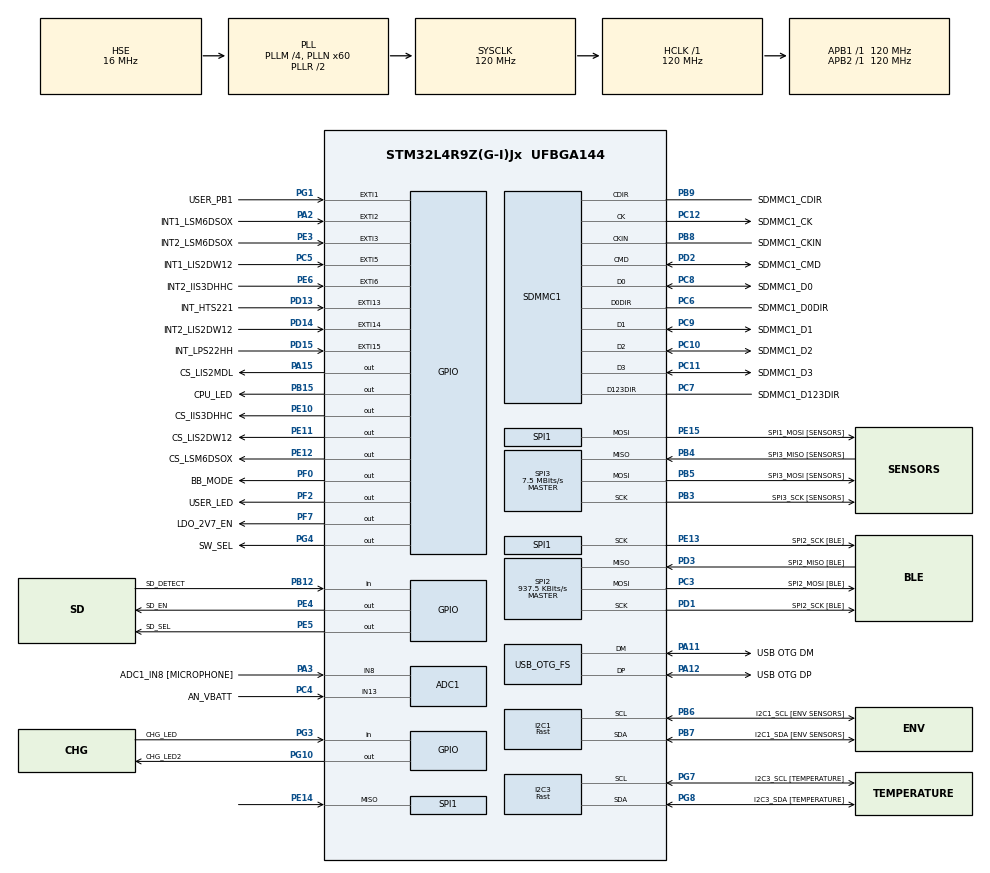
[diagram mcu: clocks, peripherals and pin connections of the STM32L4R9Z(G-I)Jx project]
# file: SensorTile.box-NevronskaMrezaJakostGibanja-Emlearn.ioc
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ADC1.Channel-0\#ChannelRegularConversion=ADC_CHANNEL_8
ADC1.ContinuousConvMode=ENABLE
ADC1.EnableInjectedConversion=ENABLE
ADC1.NbrOfConversion=1
ADC1.NbrOfConversionFlag=1
ADC1.OffsetNumber-0\#ChannelRegularConversion=ADC_OFFSET_NONE
ADC1.Overrun=ADC_OVR_DATA_OVERWRITTEN
ADC1.OversamplingMode=DISABLE
ADC1.Rank-0\#ChannelRegularConversion=1
ADC1.SamplingTime-0\#ChannelRegularConversion=ADC_SAMPLETIME_12CYCLES_5
ADC1.master=1
DFSDM1.DmaMode_reg_FIL0=ENABLE
DFSDM1.FastMode_reg_FIL0=ENABLE
DFSDM1.Filter_injChannel0_FIL0=__NULL
DFSDM1.Filter_regChannel_FIL0=DFSDM_CHANNEL_0
DFSDM1.Fosr_FIL0=192
DFSDM1.Multiplexer_internal_CH0=DFSDM_CHANNEL_ADC_OUTPUT
DFSDM1.RightBitShift_CH0=7
DFSDM1.SincOrder_FIL0=DFSDM_FILTER_SINC2_ORDER
Dma.DFSDM1_FLT0.0.Direction=DMA_PERIPH_TO_MEMORY
Dma.DFSDM1_FLT0.0.EventEnable=DISABLE
Dma.DFSDM1_FLT0.0.Instance=DMA1_Channel4
Dma.DFSDM1_FLT0.0.MemDataAlignment=DMA_MDATAALIGN_WORD
Dma.DFSDM1_FLT0.0.MemInc=DMA_MINC_ENABLE
Dma.DFSDM1_FLT0.0.Mode=DMA_CIRCULAR
Dma.DFSDM1_FLT0.0.PeriphDataAlignment=DMA_PDATAALIGN_WORD
Dma.DFSDM1_FLT0.0.PeriphInc=DMA_PINC_DISABLE
Dma.DFSDM1_FLT0.0.Polarity=HAL_DMAMUX_REQUEST_GEN_RISING
Dma.DFSDM1_FLT0.0.Priority=DMA_PRIORITY_HIGH
Dma.DFSDM1_FLT0.0.RequestNumber=1
Dma.DFSDM1_FLT0.0.SignalID=NONE
Dma.DFSDM1_FLT0.0.SyncEnable=DISABLE
Dma.DFSDM1_FLT0.0.SyncPolarity=HAL_DMAMUX_SYNC_NO_EVENT
Dma.DFSDM1_FLT0.0.SyncRequestNumber=1
Dma.DFSDM1_FLT0.0.SyncSignalID=NONE
Dma.Request0=DFSDM1_FLT0
FATFS.BSP.number=1
FATFS.USE_DMA_CODE_SD=1
FATFS._FS_NORTC=0
FATFS._USE_LFN=3
FATFS0.BSP.STBoard=false
FATFS0.BSP.api=Unknown
FATFS0.BSP.instance=PB12
FATFS0.BSP.ip=GPIO
FATFS0.BSP.mode=Input
FATFS0.BSP.name=Detect_SDIO
FATFS0.BSP.solution=PB12
I2C1.I2C_Speed_Mode=I2C_Fast
I2C1.Timing=0x00B03FDB
I2C3.I2C_Speed_Mode=I2C_Fast
I2C3.Timing=0x00B03FDB
Mcu.Family=STM32L4
Mcu.Name=STM32L4R9Z(G-I)Jx
Mcu.Package=UFBGA144
NVIC.DMA1_Channel4_IRQn=true\:0\:0\:false\:false\:true\:false\:true\:true
NVIC.OTG_FS_IRQn=true\:0\:0\:false\:false\:true\:false\:true\:true
NVIC.PriorityGroup=NVIC_PRIORITYGROUP_4
NVIC.SDMMC1_IRQn=true\:0\:0\:false\:false\:true\:true\:true\:true
NVIC.TIM6_DAC_IRQn=true\:0\:0\:false\:false\:true\:true\:true\:true
PA11.GPIO_Label=USB OTG DM
PA11.Mode=Device_Only
PA11.Signal=USB_OTG_FS_DM
PA12.GPIO_Label=USB OTG DP
PA12.Mode=Device_Only
PA12.Signal=USB_OTG_FS_DP
PA15\ (JTDI).GPIO_Label=CS_LIS2MDL
PA15\ (JTDI).GPIO_ModeDefaultOutputPP=GPIO_MODE_OUTPUT_OD
PA15\ (JTDI).GPIO_Speed=GPIO_SPEED_FREQ_VERY_HIGH
PA15\ (JTDI).PinState=GPIO_PIN_SET
PA15\ (JTDI).Signal=GPIO_Output
PA2.GPIO_Label=INT1_LSM6DSOX
PA2.Signal=GPXTI2
PA3.GPIO_Label=ADC1_IN8 [MICROPHONE]
PA3.Signal=ADCx_IN8
PB12.GPIO_Label=SD_DETECT
PB12.Signal=GPIO_Input
PB15.GPIO_Label=CPU_LED
PB15.Signal=GPIO_Output
PB3\ (JTDO/TRACESWO).GPIO_Label=SPI3_SCK [SENSORS]
PB3\ (JTDO/TRACESWO).GPIO_PuPd=GPIO_PULLUP
PB3\ (JTDO/TRACESWO).Mode=Full_Duplex_Master
PB3\ (JTDO/TRACESWO).Signal=SPI3_SCK
PB4\ (NJTRST).GPIO_Label=SPI3_MISO [SENSORS]
PB4\ (NJTRST).Mode=Full_Duplex_Master
PB4\ (NJTRST).Signal=SPI3_MISO
PB5.GPIO_Label=SPI3_MOSI [SENSORS]
PB5.Mode=Full_Duplex_Master
PB5.Signal=SPI3_MOSI
PB6.GPIO_Label=I2C1_SCL [ENV SENSORS]
PB6.GPIO_Pu=GPIO_PULLUP
PB6.Mode=I2C
PB6.Signal=I2C1_SCL
PB7.GPIO_Label=I2C1_SDA [ENV SENSORS]
PB7.GPIO_Pu=GPIO_PULLUP
PB7.Mode=I2C
PB7.Signal=I2C1_SDA
PB8.GPIO_Label=SDMMC1_CKIN
PB8.Mode=SD_4_bits_Wide_bus_dir_voltage_converter
PB8.Signal=SDMMC1_CKIN
PB9.GPIO_Label=SDMMC1_CDIR
PB9.Mode=SD_4_bits_Wide_bus_dir_voltage_converter
PB9.Signal=SDMMC1_CDIR
PC10.GPIO_Label=SDMMC1_D2
PC10.Mode=SD_4_bits_Wide_bus_dir_voltage_converter
PC10.Signal=SDMMC1_D2
PC11.GPIO_Label=SDMMC1_D3
PC11.Mode=SD_4_bits_Wide_bus_dir_voltage_converter
PC11.Signal=SDMMC1_D3
PC12.GPIO_Label=SDMMC1_CK
PC12.Mode=SD_4_bits_Wide_bus_dir_voltage_converter
PC12.Signal=SDMMC1_CK
PC14-OSC32_IN\ (PC14).GPIO_Label=RCC_OSC32_IN
PC14-OSC32_IN\ (PC14).Mode=LSE-External-Oscillator
PC14-OSC32_IN\ (PC14).Signal=RCC_OSC32_IN
PC15-OSC32_OUT\ (PC15).GPIO_Label=RCC-OSC32_OUT
PC15-OSC32_OUT\ (PC15).Mode=LSE-External-Oscillator
PC15-OSC32_OUT\ (PC15).Signal=RCC_OSC32_OUT
PC3.GPIO_Label=SPI2_MOSI [BLE]
PC3.Mode=Full_Duplex_Master
PC3.Signal=SPI2_MOSI
PC4.GPIO_Label=AN_VBATT
PC4.Signal=ADCx_IN13
PC5.GPIO_Label=INT1_LIS2DW12
PC5.Signal=GPXTI5
PC6.GPIO_Label=SDMMC1_D0DIR
PC6.Mode=SD_4_bits_Wide_bus_dir_voltage_converter
PC6.Signal=SDMMC1_D0DIR
PC7.GPIO_Label=SDMMC1_D123DIR
PC7.Mode=SD_4_bits_Wide_bus_dir_voltage_converter
PC7.Signal=SDMMC1_D123DIR
PC8.GPIO_Label=SDMMC1_D0
PC8.Mode=SD_4_bits_Wide_bus_dir_voltage_converter
PC8.Signal=SDMMC1_D0
PC9.GPIO_Label=SDMMC1_D1
PC9.Mode=SD_4_bits_Wide_bus_dir_voltage_converter
PC9.Signal=SDMMC1_D1
PD1.GPIO_Label=SPI2_SCK [BLE]
PD1.Mode=Full_Duplex_Master
PD1.Signal=SPI2_SCK
PD13.GPIO_Label=INT_HTS221
PD13.Signal=GPXTI13
PD14.GPIO_Label=INT2_LIS2DW12
PD14.Signal=GPXTI14
PD15.GPIO_Label=INT_LPS22HH
PD15.Signal=GPXTI15
PD2.GPIO_Label=SDMMC1_CMD
PD2.Mode=SD_4_bits_Wide_bus_dir_voltage_converter
PD2.Signal=SDMMC1_CMD
PD3.GPIO_Label=SPI2_MISO [BLE]
PD3.Mode=Full_Duplex_Master
PD3.Signal=SPI2_MISO
PD5.GPIO_Label=USART2_TX [SERIAL PORT]
PD5.Signal=USART2_TX
PD6.GPIO_Label=USART2_RX [SERIAL PORT]
PD6.Signal=USART2_RX
PE10.GPIO_Label=CS_IIS3DHHC
PE10.GPIO_ModeDefaultOutputPP=GPIO_MODE_OUTPUT_OD
PE10.GPIO_Speed=GPIO_SPEED_FREQ_VERY_HIGH
PE10.PinState=GPIO_PIN_SET
PE10.Signal=GPIO_Output
PE11.GPIO_Label=CS_LIS2DW12
PE11.GPIO_ModeDefaultOutputPP=GPIO_MODE_OUTPUT_OD
PE11.GPIO_Speed=GPIO_SPEED_FREQ_VERY_HIGH
PE11.PinState=GPIO_PIN_SET
PE11.Signal=GPIO_Output
PE12.GPIO_Label=CS_LSM6DSOX
PE12.GPIO_ModeDefaultOutputPP=GPIO_MODE_OUTPUT_OD
PE12.GPIO_Speed=GPIO_SPEED_FREQ_VERY_HIGH
PE12.PinState=GPIO_PIN_SET
PE12.Signal=GPIO_Output
PE13.GPIO_Label=SPI2_SCK [BLE]
PE13.GPIO_PuPd=GPIO_PULLUP
PE13.Mode=Full_Duplex_Master
PE13.Signal=SPI1_SCK
PE14.Mode=Full_Duplex_Master
PE14.Signal=SPI1_MISO
PE15.GPIO_Label=SPI1_MOSI [SENSORS]
PE15.Mode=Full_Duplex_Master
PE15.Signal=SPI1_MOSI
PE3.GPIO_Label=INT2_LSM6DSOX
PE3.Signal=GPXTI3
PE4.GPIO_Label=SD_EN
PE4.PinState=GPIO_PIN_SET
PE4.Signal=GPIO_Output
PE5.GPIO_Label=SD_SEL
PE5.PinState=GPIO_PIN_SET
PE5.Signal=GPIO_Output
PE6.GPIO_Label=INT2_IIS3DHHC
PE6.Signal=GPXTI6
PF0.GPIO_Label=BB_MODE
PF0.PinState=GPIO_PIN_RESET
PF0.Signal=GPIO_Output
PF2.GPIO_Label=USER_LED
PF2.GPIO_ModeDefaultOutputPP=GPIO_MODE_OUTPUT_PP
PF2.Signal=GPIO_Output
PF7.GPIO_Label=LDO_2V7_EN
PF7.PinState=GPIO_PIN_SET
PF7.Signal=GPIO_Output
PG1.GPIO_Label=USER_PB1
PG1.GPIO_ModeDefaultEXTI=GPIO_MODE_IT_FALLING
PG1.Signal=GPXTI1
PG10.GPIO_Label=CHG_LED2
PG10.PinState=GPIO_PIN_SET
PG10.Signal=GPIO_Output
PG3.GPIO_Label=CHG_LED
PG3.Signal=GPIO_Input
PG4.GPIO_Label=SW_SEL
PG4.Signal=GPIO_Output
PG7.GPIO_Label=I2C3_SCL [TEMPERATURE]
PG7.GPIO_Pu=GPIO_PULLUP
PG7.Mode=I2C
PG7.Signal=I2C3_SCL
PG8.GPIO_Label=I2C3_SDA [TEMPERATURE]
PG8.GPIO_Pu=GPIO_PULLUP
PG8.Mode=I2C
PG8.Signal=I2C3_SDA
PH0-OSC_IN\ (PH0).GPIO_Label=RCC_OSC_IN
PH0-OSC_IN\ (PH0).Mode=HSE-External-Oscillator
PH0-OSC_IN\ (PH0).Signal=RCC_OSC_IN
PH1-OSC_OUT\ (PH1).GPIO_Label=RCC_OSC_OUT
PH1-OSC_OUT\ (PH1).Mode=HSE-External-Oscillator
PH1-OSC_OUT\ (PH1).Signal=RCC_OSC_OUT
ProjectManager.HeapSize=0x200
ProjectManager.StackSize=0x400
ProjectManager.TargetToolchain=STM32CubeIDE
RCC.ADCFreq_Value=76800000
RCC.AHBFreq_Value=120000000
RCC.APB1Freq_Value=120000000
RCC.APB1TimFreq_Value=120000000
RCC.APB2Freq_Value=120000000
RCC.APB2TimFreq_Value=120000000
RCC.CK48CLockSelection=RCC_USBCLKSOURCE_HSI48
RCC.CortexFreq_Value=120000000
RCC.HCLKFreq_Value=120000000
RCC.HSE_VALUE=16000000
RCC.HSI48_VALUE=48000000
RCC.HSI_VALUE=16000000
RCC.MSI_VALUE=4000000
RCC.PLLM1=4
RCC.PLLM2=5
RCC.PLLN=60
RCC.PLLP=RCC_PLLP_DIV5
RCC.PLLSAI1N=96
RCC.PLLSAI1Q=RCC_PLLQ_DIV4
RCC.PLLSAI1R=RCC_PLLR_DIV4
RCC.PLLSourceVirtual=RCC_PLLSOURCE_HSE
RCC.RTCClockSelection=RCC_RTCCLKSOURCE_LSE
RCC.SYSCLKFreq_VALUE=120000000
RCC.SYSCLKSource=RCC_SYSCLKSOURCE_PLLCLK
RCC.USBFreq_Value=48000000
RCC.VCOOutputFreq_Value=240000000
RTC.Date=3
RTC.Format=RTC_FORMAT_BIN
RTC.Month=RTC_MONTH_APRIL
RTC.WeekDay=RTC_WEEKDAY_TUESDAY
RTC.Year=20
SH.ADCx_IN13.0=ADC1_IN13,IN13-Single-Ended
SH.ADCx_IN8.0=ADC1_IN8,IN8-Single-Ended
SPI1.BaudRatePrescaler=SPI_BAUDRATEPRESCALER_16
SPI1.CLKPhase=SPI_PHASE_2EDGE
SPI1.CLKPolarity=SPI_POLARITY_HIGH
SPI1.CalculateBaudRate=7.5 MBits/s
SPI1.DataSize=SPI_DATASIZE_8BIT
SPI1.Direction=SPI_DIRECTION_2LINES
SPI1.Mode=SPI_MODE_MASTER
SPI1.VirtualType=VM_MASTER
SPI2.BaudRatePrescaler=SPI_BAUDRATEPRESCALER_128
SPI2.CLKPhase=SPI_PHASE_2EDGE
SPI2.CalculateBaudRate=937.5 KBits/s
SPI2.DataSize=SPI_DATASIZE_8BIT
SPI2.Direction=SPI_DIRECTION_2LINES
SPI2.Mode=SPI_MODE_MASTER
SPI2.VirtualType=VM_MASTER
SPI3.BaudRatePrescaler=SPI_BAUDRATEPRESCALER_16
SPI3.CLKPhase=SPI_PHASE_2EDGE
SPI3.CLKPolarity=SPI_POLARITY_HIGH
SPI3.CalculateBaudRate=7.5 MBits/s
SPI3.DataSize=SPI_DATASIZE_8BIT
SPI3.Direction=SPI_DIRECTION_2LINES
SPI3.Mode=SPI_MODE_MASTER
SPI3.VirtualType=VM_MASTER
TIM2.Period=0xFFFFFFFF
TIM2.Prescaler=119
TIM6.Period=1000
TIM6.Prescaler=119
TIM7.Period=0xFFFF
TIM7.Prescaler=119
USB_DEVICE.CLASS_NAME_FS=CDC
USB_DEVICE.VirtualMode=Cdc
USB_DEVICE.VirtualModeFS=Cdc_FS
USB_OTG_FS.VirtualMode=Device_Only
USB_OTG_FS.battery_charging_enable=ENABLE
USB_OTG_FS.use_dedicated_ep1=DISABLE
VP_DFSDM1_VS_IN0.Mode=Parallel_Input_ch0
VP_FATFS_VS_SDIO.Mode=SDIO
VP_RTC_VS_RTC_Activate.Mode=RTC_Enabled
VP_RTC_VS_RTC_Calendar.Mode=RTC_Calendar
VP_TIM2_VS_ClockSourceINT.Mode=Internal
VP_TIM6_VS_ClockSourceINT.Mode=Enable_Timer
VP_TIM7_VS_ClockSourceINT.Mode=Enable_Timer
VP_USB_DEVICE_VS_USB_DEVICE_CDC_FS.Mode=CDC_FS
board=STEVAL-MKSBOX1V1

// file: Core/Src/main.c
/* USER CODE BEGIN Header */
/**
  ******************************************************************************
  * @file           : main.c
  * @brief          : Main program body
  ******************************************************************************
  * @attention
  *
  * Copyright (c) 2023 STMicroelectronics.
  * All rights reserved.
  *
  * This software is licensed under terms that can be found in the LICENSE file
  * in the root directory of this software component.
  * If no LICENSE file comes with this software, it is provided AS-IS.
  *
  ******************************************************************************
  */
/* USER CODE END Header */
#include "main.h"
#include "fatfs.h"
#include "usb_device.h"

/* USER CODE BEGIN Includes */

#include "nevronskaMreza_jakostGibanja.h"

#define BUFSIZE 256
char	SendBuffer[BUFSIZE];

float bufVar[26];
int bufVar_len = 0;

#define LSM6DSOX_ACC_SENSITIVITY_FS_4G   0.122f

	  uint8_t indata[2];
	  uint8_t outdata[2] = {0,0};
	  uint8_t lis_id;
	  uint8_t newValueAvailable = 0;
	  uint8_t AccelX1;
	  uint8_t AccelY1;
	  uint8_t AccelZ1;
	  uint8_t AccelX2;
	  uint8_t AccelY2;
	  uint8_t AccelZ2;
	  int32_t AccelX;
	  int32_t AccelY;
	  int32_t AccelZ;

	  const char* classes[3] = {"mirovanje", "srednja jakost", "velika jakost"};

/* USER CODE END Includes */

ADC_HandleTypeDef hadc1;

DFSDM_Filter_HandleTypeDef hdfsdm1_filter0;
DFSDM_Channel_HandleTypeDef hdfsdm1_channel0;
DMA_HandleTypeDef hdma_dfsdm1_flt0;

I2C_HandleTypeDef hi2c1;
I2C_HandleTypeDef hi2c3;

RTC_HandleTypeDef hrtc;

SD_HandleTypeDef hsd1;

SPI_HandleTypeDef hspi1;
SPI_HandleTypeDef hspi2;
SPI_HandleTypeDef hspi3;

TIM_HandleTypeDef htim2;
TIM_HandleTypeDef htim6;
TIM_HandleTypeDef htim7;

void SystemClock_Config(void);
static void MX_GPIO_Init(void);
static void MX_DMA_Init(void);
static void MX_ADC1_Init(void);
static void MX_DFSDM1_Init(void);
static void MX_I2C1_Init(void);
static void MX_I2C3_Init(void);
static void MX_RTC_Init(void);
static void MX_SDMMC1_SD_Init(void);
static void MX_SPI1_Init(void);
static void MX_SPI2_Init(void);
static void MX_SPI3_Init(void);
static void MX_TIM2_Init(void);
static void MX_TIM6_Init(void);
static void MX_TIM7_Init(void);

int main(void)
{

  /* MCU Configuration--------------------------------------------------------*/

  /* Reset of all peripherals, Initializes the Flash interface and the Systick. */
  HAL_Init();

  /* Configure the system clock */
  SystemClock_Config();

  /* Initialize all configured peripherals */
  MX_GPIO_Init();
  MX_DMA_Init();
  MX_ADC1_Init();
  MX_DFSDM1_Init();
  MX_I2C1_Init();
  MX_I2C3_Init();
  MX_RTC_Init();
  MX_SDMMC1_SD_Init();
  MX_SPI1_Init();
  MX_SPI2_Init();
  MX_SPI3_Init();
  MX_TIM2_Init();
  MX_TIM6_Init();
  MX_TIM7_Init();
  MX_FATFS_Init();
  MX_USB_DEVICE_Init();

  /* Infinite loop */
  /* USER CODE BEGIN WHILE */

  	    // sensor setup (activation and setting frequency)
  	    HAL_GPIO_WritePin(GPIOE, GPIO_PIN_12, GPIO_PIN_RESET);

  	    outdata[0] = 0x10 ; // register used for setting up the accelerometer
  	    outdata[1] = 0x28 ; // set frequency to 26Hz and FS to 4g
  	    HAL_SPI_TransmitReceive(&hspi1, &outdata, &indata, 2, HAL_MAX_DELAY);

  	    HAL_GPIO_WritePin(GPIOE, GPIO_PIN_12, GPIO_PIN_SET);

  while (1)
  {

	  while(bufVar_len < 26) {
	  		HAL_GPIO_WritePin(GPIOE, GPIO_PIN_12, GPIO_PIN_RESET);
	  		outdata[0] = 0x1e | 0x80 ; // read status register if there is new accelerometer data
	  		HAL_SPI_TransmitReceive(&hspi1, &outdata, &indata, 2, HAL_MAX_DELAY);
	  		newValueAvailable = indata[1] & 0b1; //only accelerometer state
	  		HAL_GPIO_WritePin(GPIOE, GPIO_PIN_12, GPIO_PIN_SET);

	  		if(newValueAvailable == 1) {
	  			bufVar_len++;

	  			newValueAvailable = 0;

	  			//Read accelerometer measurements
	  			outdata[0] = 0x29 | 0x80 ; // read x, 0x51
	  			HAL_GPIO_WritePin(GPIOE, GPIO_PIN_12, GPIO_PIN_RESET);
	  			HAL_SPI_TransmitReceive(&hspi1, &outdata, &indata, 2, HAL_MAX_DELAY);
	  			AccelX1 = indata[1];
	  			outdata[0] = 0x28 | 0x80 ; // read x, low
	  			HAL_SPI_TransmitReceive(&hspi1, &outdata, &indata, 2, HAL_MAX_DELAY);
	  			AccelX2 = indata[1];
	  			HAL_GPIO_WritePin(GPIOE, GPIO_PIN_12, GPIO_PIN_SET);

	  			HAL_GPIO_WritePin(GPIOE, GPIO_PIN_12, GPIO_PIN_RESET);
	  			outdata[0] = 0x2b | 0x80 ; // read y, 0x53
	  			HAL_SPI_TransmitReceive(&hspi1, &outdata, &indata, 2, HAL_MAX_DELAY);
	  			AccelY1 = indata[1];
	  			outdata[0] = 0x2a | 0x80 ; // read y, low
	  			HAL_SPI_TransmitReceive(&hspi1, &outdata, &indata, 2, HAL_MAX_DELAY);
	  			AccelY2 = indata[1];
	  			HAL_GPIO_WritePin(GPIOE, GPIO_PIN_12, GPIO_PIN_SET);

	  			HAL_GPIO_WritePin(GPIOE, GPIO_PIN_12, GPIO_PIN_RESET);
	  			outdata[0] = 0x2d | 0x80 ; // read z, 0x55
	  			HAL_SPI_TransmitReceive(&hspi1, &outdata, &indata, 2, HAL_MAX_DELAY);
	  			AccelZ1 = indata[1];
	  			HAL_GPIO_WritePin(GPIOE, GPIO_PIN_12, GPIO_PIN_SET);

	  			HAL_GPIO_WritePin(GPIOE, GPIO_PIN_12, GPIO_PIN_RESET);
	  			outdata[0] = 0x2c | 0x80 ; // read z, low
	  			HAL_SPI_TransmitReceive(&hspi1, &outdata, &indata, 2, HAL_MAX_DELAY);
	  			AccelZ2 = indata[1];
	  			HAL_GPIO_WritePin(GPIOE, GPIO_PIN_12, GPIO_PIN_SET);

	  			//Calculation to get measurements in the unit mG and with /1000 to G
	  			int16_t AccelX;
	  			int32_t AccelX_mg;
	  			int16_t AccelY;
	  			int32_t AccelY_mg;
	  			int16_t AccelZ;
	  			int32_t AccelZ_mg;

	  			AccelX= ((int16_t)AccelX1 <<8 ) | AccelX2;
	  			AccelX_mg= (int32_t)((float)AccelX * LSM6DSOX_ACC_SENSITIVITY_FS_4G);
	  			AccelY= ((int16_t)AccelY1 <<8 ) | AccelY2;
	  			AccelY_mg= (int32_t)((float)AccelY * LSM6DSOX_ACC_SENSITIVITY_FS_4G);
	  			AccelZ= ((int16_t)AccelZ1 <<8 ) | AccelZ2;
	  			AccelZ_mg= (int32_t)((float)AccelZ * LSM6DSOX_ACC_SENSITIVITY_FS_4G);

	  			float AccelX_inG = AccelX_mg * 0.001f;
	  			float AccelY_inG = AccelY_mg * 0.001f;
	  			float AccelZ_inG = AccelZ_mg * 0.001f;

	  			bufVar[bufVar_len - 1] = sqrt(AccelX_inG * AccelX_inG + AccelY_inG * AccelY_inG + AccelZ_inG * AccelZ_inG);
	  		}
	  	}

	  	if(bufVar_len == 26) {
	  		bufVar_len = 0;
	  		float summ = 0;
	  		float sumOfSquares = 0;
	  		for(int i = 0; i < 26; i++) {
	  			summ += bufVar[i];
	  			sumOfSquares += bufVar[i] * bufVar[i];
	  		}
	  		float mean = summ / 26;
	  		float meanSquared = mean * mean;

	  		float inputValue = (sumOfSquares / 26) - meanSquared;

	  		inputValue = (inputValue - 0.22330145150297734) * 2.5709241370783027;

	  		const float features[] = { inputValue };
	  		int out = nevronskaMreza_jakostGibanja_predict(features, 1); // Alternative A: "inline"
	  		if (out < 0) {
	  		    return out; // error
	  		} else {
	  		  snprintf(SendBuffer,BUFSIZE,"Razred: %lu, %s \r\n", out, classes[out]);
	  		  CDC_Transmit_FS(SendBuffer,strlen(SendBuffer));

	  		  HAL_GPIO_WritePin(GPIOF, GPIO_PIN_2, GPIO_PIN_RESET);
	  		  HAL_GPIO_WritePin(GPIOG, GPIO_PIN_10, GPIO_PIN_SET);
	  		  HAL_GPIO_WritePin(GPIOB, GPIO_PIN_15, GPIO_PIN_RESET);

	  		  switch(out)
	  		      {
	  		          case 0:
	  		          	HAL_GPIO_WritePin(GPIOF, GPIO_PIN_2, GPIO_PIN_SET);
	  		              break;
	  		          case 1:
	  		          	HAL_GPIO_WritePin(GPIOG, GPIO_PIN_10, GPIO_PIN_RESET);
	  		          	break;
	  		          case 2:
	  		          	HAL_GPIO_WritePin(GPIOB, GPIO_PIN_15, GPIO_PIN_SET);
	  		          	break;
	  		      }
	  			}
	  	}

    /* USER CODE END WHILE */

  }
}

void SystemClock_Config(void)
{
  RCC_OscInitTypeDef RCC_OscInitStruct = {0};
  RCC_ClkInitTypeDef RCC_ClkInitStruct = {0};

  /** Configure the main internal regulator output voltage
  */
  if (HAL_PWREx_ControlVoltageScaling(PWR_REGULATOR_VOLTAGE_SCALE1_BOOST) != HAL_OK)
  {
    Error_Handler();
  }

  /** Configure LSE Drive Capability
  */
  HAL_PWR_EnableBkUpAccess();
  __HAL_RCC_LSEDRIVE_CONFIG(RCC_LSEDRIVE_LOW);

  /** Initializes the RCC Oscillators according to the specified parameters
  * in the RCC_OscInitTypeDef structure.
  */
  RCC_OscInitStruct.OscillatorType = RCC_OSCILLATORTYPE_HSI48|RCC_OSCILLATORTYPE_HSE
                              |RCC_OSCILLATORTYPE_LSE;
  RCC_OscInitStruct.HSEState = RCC_HSE_ON;
  RCC_OscInitStruct.LSEState = RCC_LSE_ON;
  RCC_OscInitStruct.HSI48State = RCC_HSI48_ON;
  RCC_OscInitStruct.PLL.PLLState = RCC_PLL_ON;
  RCC_OscInitStruct.PLL.PLLSource = RCC_PLLSOURCE_HSE;
  RCC_OscInitStruct.PLL.PLLM = 4;
  RCC_OscInitStruct.PLL.PLLN = 60;
  RCC_OscInitStruct.PLL.PLLP = RCC_PLLP_DIV5;
  RCC_OscInitStruct.PLL.PLLQ = RCC_PLLQ_DIV2;
  RCC_OscInitStruct.PLL.PLLR = RCC_PLLR_DIV2;
  if (HAL_RCC_OscConfig(&RCC_OscInitStruct) != HAL_OK)
  {
    Error_Handler();
  }

  /** Initializes the CPU, AHB and APB buses clocks
  */
  RCC_ClkInitStruct.ClockType = RCC_CLOCKTYPE_HCLK|RCC_CLOCKTYPE_SYSCLK
                              |RCC_CLOCKTYPE_PCLK1|RCC_CLOCKTYPE_PCLK2;
  RCC_ClkInitStruct.SYSCLKSource = RCC_SYSCLKSOURCE_PLLCLK;
  RCC_ClkInitStruct.AHBCLKDivider = RCC_SYSCLK_DIV1;
  RCC_ClkInitStruct.APB1CLKDivider = RCC_HCLK_DIV1;
  RCC_ClkInitStruct.APB2CLKDivider = RCC_HCLK_DIV1;

  if (HAL_RCC_ClockConfig(&RCC_ClkInitStruct, FLASH_LATENCY_5) != HAL_OK)
  {
    Error_Handler();
  }
}

static void MX_ADC1_Init(void)
{

  ADC_ChannelConfTypeDef sConfig = {0};

  /** Common config
  */
  hadc1.Instance = ADC1;
  hadc1.Init.ClockPrescaler = ADC_CLOCK_ASYNC_DIV1;
  hadc1.Init.Resolution = ADC_RESOLUTION_12B;
  hadc1.Init.DataAlign = ADC_DATAALIGN_RIGHT;
  hadc1.Init.ScanConvMode = ADC_SCAN_DISABLE;
  hadc1.Init.EOCSelection = ADC_EOC_SINGLE_CONV;
  hadc1.Init.LowPowerAutoWait = DISABLE;
  hadc1.Init.ContinuousConvMode = ENABLE;
  hadc1.Init.NbrOfConversion = 1;
  hadc1.Init.DiscontinuousConvMode = DISABLE;
  hadc1.Init.ExternalTrigConv = ADC_SOFTWARE_START;
  hadc1.Init.ExternalTrigConvEdge = ADC_EXTERNALTRIGCONVEDGE_NONE;
  hadc1.Init.DMAContinuousRequests = DISABLE;
  hadc1.Init.Overrun = ADC_OVR_DATA_OVERWRITTEN;
  hadc1.Init.OversamplingMode = DISABLE;
  hadc1.Init.DFSDMConfig = ADC_DFSDM_MODE_ENABLE;
  if (HAL_ADC_Init(&hadc1) != HAL_OK)
  {
    Error_Handler();
  }

  /** Configure Regular Channel
  */
  sConfig.Channel = ADC_CHANNEL_8;
  sConfig.Rank = ADC_REGULAR_RANK_1;
  sConfig.SamplingTime = ADC_SAMPLETIME_12CYCLES_5;
  sConfig.SingleDiff = ADC_SINGLE_ENDED;
  sConfig.OffsetNumber = ADC_OFFSET_NONE;
  sConfig.Offset = 0;
  if (HAL_ADC_ConfigChannel(&hadc1, &sConfig) != HAL_OK)
  {
    Error_Handler();
  }

}

static void MX_DFSDM1_Init(void)
{

  hdfsdm1_filter0.Instance = DFSDM1_Filter0;
  hdfsdm1_filter0.Init.RegularParam.Trigger = DFSDM_FILTER_SW_TRIGGER;
  hdfsdm1_filter0.Init.RegularParam.FastMode = ENABLE;
  hdfsdm1_filter0.Init.RegularParam.DmaMode = ENABLE;
  hdfsdm1_filter0.Init.FilterParam.SincOrder = DFSDM_FILTER_SINC2_ORDER;
  hdfsdm1_filter0.Init.FilterParam.Oversampling = 192;
  hdfsdm1_filter0.Init.FilterParam.IntOversampling = 1;
  if (HAL_DFSDM_FilterInit(&hdfsdm1_filter0) != HAL_OK)
  {
    Error_Handler();
  }
  hdfsdm1_channel0.Instance = DFSDM1_Channel0;
  hdfsdm1_channel0.Init.OutputClock.Activation = DISABLE;
  hdfsdm1_channel0.Init.OutputClock.Selection = DFSDM_CHANNEL_OUTPUT_CLOCK_SYSTEM;
  hdfsdm1_channel0.Init.OutputClock.Divider = 2;
  hdfsdm1_channel0.Init.Input.Multiplexer = DFSDM_CHANNEL_ADC_OUTPUT;
  hdfsdm1_channel0.Init.Input.DataPacking = DFSDM_CHANNEL_STANDARD_MODE;
  hdfsdm1_channel0.Init.Input.Pins = DFSDM_CHANNEL_SAME_CHANNEL_PINS;
  hdfsdm1_channel0.Init.SerialInterface.Type = DFSDM_CHANNEL_SPI_RISING;
  hdfsdm1_channel0.Init.SerialInterface.SpiClock = DFSDM_CHANNEL_SPI_CLOCK_EXTERNAL;
  hdfsdm1_channel0.Init.Awd.FilterOrder = DFSDM_CHANNEL_FASTSINC_ORDER;
  hdfsdm1_channel0.Init.Awd.Oversampling = 1;
  hdfsdm1_channel0.Init.Offset = 0x00;
  hdfsdm1_channel0.Init.RightBitShift = 7;
  if (HAL_DFSDM_ChannelInit(&hdfsdm1_channel0) != HAL_OK)
  {
    Error_Handler();
  }
  if (HAL_DFSDM_FilterConfigRegChannel(&hdfsdm1_filter0, DFSDM_CHANNEL_0, DFSDM_CONTINUOUS_CONV_ON) != HAL_OK)
  {
    Error_Handler();
  }

}

static void MX_I2C1_Init(void)
{

  hi2c1.Instance = I2C1;
  hi2c1.Init.Timing = 0x00B03FDB;
  hi2c1.Init.OwnAddress1 = 0;
  hi2c1.Init.AddressingMode = I2C_ADDRESSINGMODE_7BIT;
  hi2c1.Init.DualAddressMode = I2C_DUALADDRESS_DISABLE;
  hi2c1.Init.OwnAddress2 = 0;
  hi2c1.Init.OwnAddress2Masks = I2C_OA2_NOMASK;
  hi2c1.Init.GeneralCallMode = I2C_GENERALCALL_DISABLE;
  hi2c1.Init.NoStretchMode = I2C_NOSTRETCH_DISABLE;
  if (HAL_I2C_Init(&hi2c1) != HAL_OK)
  {
    Error_Handler();
  }

  /** Configure Analogue filter
  */
  if (HAL_I2CEx_ConfigAnalogFilter(&hi2c1, I2C_ANALOGFILTER_ENABLE) != HAL_OK)
  {
    Error_Handler();
  }

  /** Configure Digital filter
  */
  if (HAL_I2CEx_ConfigDigitalFilter(&hi2c1, 0) != HAL_OK)
  {
    Error_Handler();
  }

}

static void MX_I2C3_Init(void)
{

  hi2c3.Instance = I2C3;
  hi2c3.Init.Timing = 0x00B03FDB;
  hi2c3.Init.OwnAddress1 = 0;
  hi2c3.Init.AddressingMode = I2C_ADDRESSINGMODE_7BIT;
  hi2c3.Init.DualAddressMode = I2C_DUALADDRESS_DISABLE;
  hi2c3.Init.OwnAddress2 = 0;
  hi2c3.Init.OwnAddress2Masks = I2C_OA2_NOMASK;
  hi2c3.Init.GeneralCallMode = I2C_GENERALCALL_DISABLE;
  hi2c3.Init.NoStretchMode = I2C_NOSTRETCH_DISABLE;
  if (HAL_I2C_Init(&hi2c3) != HAL_OK)
  {
    Error_Handler();
  }

  /** Configure Analogue filter
  */
  if (HAL_I2CEx_ConfigAnalogFilter(&hi2c3, I2C_ANALOGFILTER_ENABLE) != HAL_OK)
  {
    Error_Handler();
  }

  /** Configure Digital filter
  */
  if (HAL_I2CEx_ConfigDigitalFilter(&hi2c3, 0) != HAL_OK)
  {
    Error_Handler();
  }

}

static void MX_RTC_Init(void)
{

  RTC_TimeTypeDef sTime = {0};
  RTC_DateTypeDef sDate = {0};

  /** Initialize RTC Only
  */
  hrtc.Instance = RTC;
  hrtc.Init.HourFormat = RTC_HOURFORMAT_24;
  hrtc.Init.AsynchPrediv = 127;
  hrtc.Init.SynchPrediv = 255;
  hrtc.Init.OutPut = RTC_OUTPUT_DISABLE;
  hrtc.Init.OutPutRemap = RTC_OUTPUT_REMAP_NONE;
  hrtc.Init.OutPutPolarity = RTC_OUTPUT_POLARITY_HIGH;
  hrtc.Init.OutPutType = RTC_OUTPUT_TYPE_OPENDRAIN;
  if (HAL_RTC_Init(&hrtc) != HAL_OK)
  {
    Error_Handler();
  }

  /** Initialize RTC and set the Time and Date
  */
  sTime.Hours = 0;
  sTime.Minutes = 0;
  sTime.Seconds = 0;
  sTime.DayLightSaving = RTC_DAYLIGHTSAVING_NONE;
  sTime.StoreOperation = RTC_STOREOPERATION_RESET;
  if (HAL_RTC_SetTime(&hrtc, &sTime, RTC_FORMAT_BIN) != HAL_OK)
  {
    Error_Handler();
  }
  sDate.WeekDay = RTC_WEEKDAY_TUESDAY;
  sDate.Month = RTC_MONTH_APRIL;
  sDate.Date = 3;
  sDate.Year = 20;

  if (HAL_RTC_SetDate(&hrtc, &sDate, RTC_FORMAT_BIN) != HAL_OK)
  {
    Error_Handler();
  }

}

static void MX_SDMMC1_SD_Init(void)
{

  hsd1.Instance = SDMMC1;
  hsd1.Init.ClockEdge = SDMMC_CLOCK_EDGE_RISING;
  hsd1.Init.ClockPowerSave = SDMMC_CLOCK_POWER_SAVE_DISABLE;
  hsd1.Init.BusWide = SDMMC_BUS_WIDE_4B;
  hsd1.Init.HardwareFlowControl = SDMMC_HARDWARE_FLOW_CONTROL_DISABLE;
  hsd1.Init.ClockDiv = 0;
  hsd1.Init.Transceiver = SDMMC_TRANSCEIVER_ENABLE;

}

static void MX_SPI1_Init(void)
{

  /* SPI1 parameter configuration*/
  hspi1.Instance = SPI1;
  hspi1.Init.Mode = SPI_MODE_MASTER;
  hspi1.Init.Direction = SPI_DIRECTION_2LINES;
  hspi1.Init.DataSize = SPI_DATASIZE_8BIT;
  hspi1.Init.CLKPolarity = SPI_POLARITY_HIGH;
  hspi1.Init.CLKPhase = SPI_PHASE_2EDGE;
  hspi1.Init.NSS = SPI_NSS_SOFT;
  hspi1.Init.BaudRatePrescaler = SPI_BAUDRATEPRESCALER_16;
  hspi1.Init.FirstBit = SPI_FIRSTBIT_MSB;
  hspi1.Init.TIMode = SPI_TIMODE_DISABLE;
  hspi1.Init.CRCCalculation = SPI_CRCCALCULATION_DISABLE;
  hspi1.Init.CRCPolynomial = 7;
  hspi1.Init.CRCLength = SPI_CRC_LENGTH_DATASIZE;
  hspi1.Init.NSSPMode = SPI_NSS_PULSE_DISABLE;
  if (HAL_SPI_Init(&hspi1) != HAL_OK)
  {
    Error_Handler();
  }

}

static void MX_SPI2_Init(void)
{

  /* SPI2 parameter configuration*/
  hspi2.Instance = SPI2;
  hspi2.Init.Mode = SPI_MODE_MASTER;
  hspi2.Init.Direction = SPI_DIRECTION_2LINES;
  hspi2.Init.DataSize = SPI_DATASIZE_8BIT;
  hspi2.Init.CLKPolarity = SPI_POLARITY_LOW;
  hspi2.Init.CLKPhase = SPI_PHASE_2EDGE;
  hspi2.Init.NSS = SPI_NSS_SOFT;
  hspi2.Init.BaudRatePrescaler = SPI_BAUDRATEPRESCALER_128;
  hspi2.Init.FirstBit = SPI_FIRSTBIT_MSB;
  hspi2.Init.TIMode = SPI_TIMODE_DISABLE;
  hspi2.Init.CRCCalculation = SPI_CRCCALCULATION_DISABLE;
  hspi2.Init.CRCPolynomial = 7;
  hspi2.Init.CRCLength = SPI_CRC_LENGTH_DATASIZE;
  hspi2.Init.NSSPMode = SPI_NSS_PULSE_DISABLE;
  if (HAL_SPI_Init(&hspi2) != HAL_OK)
  {
    Error_Handler();
  }

}

static void MX_SPI3_Init(void)
{

  /* SPI3 parameter configuration*/
  hspi3.Instance = SPI3;
  hspi3.Init.Mode = SPI_MODE_MASTER;
  hspi3.Init.Direction = SPI_DIRECTION_2LINES;
  hspi3.Init.DataSize = SPI_DATASIZE_8BIT;
  hspi3.Init.CLKPolarity = SPI_POLARITY_HIGH;
  hspi3.Init.CLKPhase = SPI_PHASE_2EDGE;
  hspi3.Init.NSS = SPI_NSS_SOFT;
  hspi3.Init.BaudRatePrescaler = SPI_BAUDRATEPRESCALER_16;
  hspi3.Init.FirstBit = SPI_FIRSTBIT_MSB;
  hspi3.Init.TIMode = SPI_TIMODE_DISABLE;
  hspi3.Init.CRCCalculation = SPI_CRCCALCULATION_DISABLE;
  hspi3.Init.CRCPolynomial = 7;
  hspi3.Init.CRCLength = SPI_CRC_LENGTH_DATASIZE;
  hspi3.Init.NSSPMode = SPI_NSS_PULSE_DISABLE;
  if (HAL_SPI_Init(&hspi3) != HAL_OK)
  {
    Error_Handler();
  }

}

static void MX_TIM2_Init(void)
{

  TIM_ClockConfigTypeDef sClockSourceConfig = {0};
  TIM_MasterConfigTypeDef sMasterConfig = {0};

  htim2.Instance = TIM2;
  htim2.Init.Prescaler = 119;
  htim2.Init.CounterMode = TIM_COUNTERMODE_UP;
  htim2.Init.Period = 0xFFFFFFFF;
  htim2.Init.ClockDivision = TIM_CLOCKDIVISION_DIV1;
  htim2.Init.AutoReloadPreload = TIM_AUTORELOAD_PRELOAD_DISABLE;
  if (HAL_TIM_Base_Init(&htim2) != HAL_OK)
  {
    Error_Handler();
  }
  sClockSourceConfig.ClockSource = TIM_CLOCKSOURCE_INTERNAL;
  if (HAL_TIM_ConfigClockSource(&htim2, &sClockSourceConfig) != HAL_OK)
  {
    Error_Handler();
  }
  sMasterConfig.MasterOutputTrigger = TIM_TRGO_RESET;
  sMasterConfig.MasterSlaveMode = TIM_MASTERSLAVEMODE_DISABLE;
  if (HAL_TIMEx_MasterConfigSynchronization(&htim2, &sMasterConfig) != HAL_OK)
  {
    Error_Handler();
  }

}

static void MX_TIM6_Init(void)
{

  TIM_MasterConfigTypeDef sMasterConfig = {0};

  htim6.Instance = TIM6;
  htim6.Init.Prescaler = 119;
  htim6.Init.CounterMode = TIM_COUNTERMODE_UP;
  htim6.Init.Period = 1000;
  htim6.Init.AutoReloadPreload = TIM_AUTORELOAD_PRELOAD_DISABLE;
  if (HAL_TIM_Base_Init(&htim6) != HAL_OK)
  {
    Error_Handler();
  }
  sMasterConfig.MasterOutputTrigger = TIM_TRGO_RESET;
  sMasterConfig.MasterSlaveMode = TIM_MASTERSLAVEMODE_DISABLE;
  if (HAL_TIMEx_MasterConfigSynchronization(&htim6, &sMasterConfig) != HAL_OK)
  {
    Error_Handler();
  }

}

static void MX_TIM7_Init(void)
{

  TIM_MasterConfigTypeDef sMasterConfig = {0};

  htim7.Instance = TIM7;
  htim7.Init.Prescaler = 119;
  htim7.Init.CounterMode = TIM_COUNTERMODE_UP;
  htim7.Init.Period = 0xFFFF;
  htim7.Init.AutoReloadPreload = TIM_AUTORELOAD_PRELOAD_DISABLE;
  if (HAL_TIM_Base_Init(&htim7) != HAL_OK)
  {
    Error_Handler();
  }
  sMasterConfig.MasterOutputTrigger = TIM_TRGO_RESET;
  sMasterConfig.MasterSlaveMode = TIM_MASTERSLAVEMODE_DISABLE;
  if (HAL_TIMEx_MasterConfigSynchronization(&htim7, &sMasterConfig) != HAL_OK)
  {
    Error_Handler();
  }

}

static void MX_DMA_Init(void)
{

  /* DMA controller clock enable */
  __HAL_RCC_DMAMUX1_CLK_ENABLE();
  __HAL_RCC_DMA1_CLK_ENABLE();

  /* DMA interrupt init */
  /* DMA1_Channel4_IRQn interrupt configuration */
  HAL_NVIC_SetPriority(DMA1_Channel4_IRQn, 0, 0);
  HAL_NVIC_EnableIRQ(DMA1_Channel4_IRQn);

}

static void MX_GPIO_Init(void)
{
  GPIO_InitTypeDef GPIO_InitStruct = {0};

  /* GPIO Ports Clock Enable */
  __HAL_RCC_GPIOB_CLK_ENABLE();
  __HAL_RCC_GPIOD_CLK_ENABLE();
  __HAL_RCC_GPIOC_CLK_ENABLE();
  __HAL_RCC_GPIOE_CLK_ENABLE();
  __HAL_RCC_GPIOA_CLK_ENABLE();
  __HAL_RCC_GPIOF_CLK_ENABLE();
  __HAL_RCC_GPIOG_CLK_ENABLE();
  HAL_PWREx_EnableVddIO2();
  __HAL_RCC_GPIOH_CLK_ENABLE();

  /*Configure GPIO pin Output Level */
  HAL_GPIO_WritePin(CS_LIS2MDL_GPIO_Port, CS_LIS2MDL_Pin, GPIO_PIN_SET);

  /*Configure GPIO pin Output Level */
  HAL_GPIO_WritePin(GPIOE, SD_SEL_Pin|SD_EN_Pin|CS_LIS2DW12_Pin|CS_IIS3DHHC_Pin
                          |CS_LSM6DSOX_Pin, GPIO_PIN_SET);

  /*Configure GPIO pin Output Level */
  HAL_GPIO_WritePin(GPIOF, USER_LED_Pin|BB_MODE_Pin, GPIO_PIN_RESET);

  /*Configure GPIO pin Output Level */
  HAL_GPIO_WritePin(CHG_LED2_GPIO_Port, CHG_LED2_Pin, GPIO_PIN_SET);

  /*Configure GPIO pin Output Level */
  HAL_GPIO_WritePin(LDO_2V7_EN_GPIO_Port, LDO_2V7_EN_Pin, GPIO_PIN_SET);

  /*Configure GPIO pin Output Level */
  HAL_GPIO_WritePin(SW_SEL_GPIO_Port, SW_SEL_Pin, GPIO_PIN_RESET);

  /*Configure GPIO pin Output Level */
  HAL_GPIO_WritePin(CPU_LED_GPIO_Port, CPU_LED_Pin, GPIO_PIN_RESET);

  /*Configure GPIO pins : INT2_LSM6DSOX_Pin INT2_IIS3DHHC_Pin */
  GPIO_InitStruct.Pin = INT2_LSM6DSOX_Pin|INT2_IIS3DHHC_Pin;
  GPIO_InitStruct.Mode = GPIO_MODE_IT_RISING;
  GPIO_InitStruct.Pull = GPIO_NOPULL;
  HAL_GPIO_Init(GPIOE, &GPIO_InitStruct);

  /*Configure GPIO pins : USART2_RX_Pin USART2_TX_Pin */
  GPIO_InitStruct.Pin = USART2_RX_Pin|USART2_TX_Pin;
  GPIO_InitStruct.Mode = GPIO_MODE_AF_PP;
  GPIO_InitStruct.Pull = GPIO_NOPULL;
  GPIO_InitStruct.Speed = GPIO_SPEED_FREQ_VERY_HIGH;
  GPIO_InitStruct.Alternate = GPIO_AF7_USART2;
  HAL_GPIO_Init(GPIOD, &GPIO_InitStruct);

  /*Configure GPIO pin : CS_LIS2MDL_Pin */
  GPIO_InitStruct.Pin = CS_LIS2MDL_Pin;
  GPIO_InitStruct.Mode = GPIO_MODE_OUTPUT_OD;
  GPIO_InitStruct.Pull = GPIO_NOPULL;
  GPIO_InitStruct.Speed = GPIO_SPEED_FREQ_VERY_HIGH;
  HAL_GPIO_Init(CS_LIS2MDL_GPIO_Port, &GPIO_InitStruct);

  /*Configure GPIO pins : SD_SEL_Pin SD_EN_Pin */
  GPIO_InitStruct.Pin = SD_SEL_Pin|SD_EN_Pin;
  GPIO_InitStruct.Mode = GPIO_MODE_OUTPUT_PP;
  GPIO_InitStruct.Pull = GPIO_NOPULL;
  GPIO_InitStruct.Speed = GPIO_SPEED_FREQ_LOW;
  HAL_GPIO_Init(GPIOE, &GPIO_InitStruct);

  /*Configure GPIO pins : USER_LED_Pin BB_MODE_Pin LDO_2V7_EN_Pin */
  GPIO_InitStruct.Pin = USER_LED_Pin|BB_MODE_Pin|LDO_2V7_EN_Pin;
  GPIO_InitStruct.Mode = GPIO_MODE_OUTPUT_PP;
  GPIO_InitStruct.Pull = GPIO_NOPULL;
  GPIO_InitStruct.Speed = GPIO_SPEED_FREQ_LOW;
  HAL_GPIO_Init(GPIOF, &GPIO_InitStruct);

  /*Configure GPIO pins : CHG_LED2_Pin SW_SEL_Pin */
  GPIO_InitStruct.Pin = CHG_LED2_Pin|SW_SEL_Pin;
  GPIO_InitStruct.Mode = GPIO_MODE_OUTPUT_PP;
  GPIO_InitStruct.Pull = GPIO_NOPULL;
  GPIO_InitStruct.Speed = GPIO_SPEED_FREQ_LOW;
  HAL_GPIO_Init(GPIOG, &GPIO_InitStruct);

  /*Configure GPIO pin : CHG_LED_Pin */
  GPIO_InitStruct.Pin = CHG_LED_Pin;
  GPIO_InitStruct.Mode = GPIO_MODE_INPUT;
  GPIO_InitStruct.Pull = GPIO_NOPULL;
  HAL_GPIO_Init(CHG_LED_GPIO_Port, &GPIO_InitStruct);

  /*Configure GPIO pins : INT_LPS22HH_Pin INT2_LIS2DW12_Pin INT_HTS221_Pin */
  GPIO_InitStruct.Pin = INT_LPS22HH_Pin|INT2_LIS2DW12_Pin|INT_HTS221_Pin;
  GPIO_InitStruct.Mode = GPIO_MODE_IT_RISING;
  GPIO_InitStruct.Pull = GPIO_NOPULL;
  HAL_GPIO_Init(GPIOD, &GPIO_InitStruct);

  /*Configure GPIO pins : CS_LIS2DW12_Pin CS_IIS3DHHC_Pin CS_LSM6DSOX_Pin */
  GPIO_InitStruct.Pin = CS_LIS2DW12_Pin|CS_IIS3DHHC_Pin|CS_LSM6DSOX_Pin;
  GPIO_InitStruct.Mode = GPIO_MODE_OUTPUT_OD;
  GPIO_InitStruct.Pull = GPIO_NOPULL;
  GPIO_InitStruct.Speed = GPIO_SPEED_FREQ_VERY_HIGH;
  HAL_GPIO_Init(GPIOE, &GPIO_InitStruct);

  /*Configure GPIO pin : CPU_LED_Pin */
  GPIO_InitStruct.Pin = CPU_LED_Pin;
  GPIO_InitStruct.Mode = GPIO_MODE_OUTPUT_PP;
  GPIO_InitStruct.Pull = GPIO_NOPULL;
  GPIO_InitStruct.Speed = GPIO_SPEED_FREQ_LOW;
  HAL_GPIO_Init(CPU_LED_GPIO_Port, &GPIO_InitStruct);

  /*Configure GPIO pin : INT1_LIS2DW12_Pin */
  GPIO_InitStruct.Pin = INT1_LIS2DW12_Pin;
  GPIO_InitStruct.Mode = GPIO_MODE_IT_RISING;
  GPIO_InitStruct.Pull = GPIO_NOPULL;
  HAL_GPIO_Init(INT1_LIS2DW12_GPIO_Port, &GPIO_InitStruct);

  /*Configure GPIO pin : INT1_LSM6DSOX_Pin */
  GPIO_InitStruct.Pin = INT1_LSM6DSOX_Pin;
  GPIO_InitStruct.Mode = GPIO_MODE_IT_RISING;
  GPIO_InitStruct.Pull = GPIO_NOPULL;
  HAL_GPIO_Init(INT1_LSM6DSOX_GPIO_Port, &GPIO_InitStruct);

  /*Configure GPIO pin : SD_DETECT_Pin */
  GPIO_InitStruct.Pin = SD_DETECT_Pin;
  GPIO_InitStruct.Mode = GPIO_MODE_INPUT;
  GPIO_InitStruct.Pull = GPIO_NOPULL;
  HAL_GPIO_Init(SD_DETECT_GPIO_Port, &GPIO_InitStruct);

  /*Configure GPIO pin : USER_PB1_Pin */
  GPIO_InitStruct.Pin = USER_PB1_Pin;
  GPIO_InitStruct.Mode = GPIO_MODE_IT_FALLING;
  GPIO_InitStruct.Pull = GPIO_NOPULL;
  HAL_GPIO_Init(USER_PB1_GPIO_Port, &GPIO_InitStruct);

}

void Error_Handler(void)
{
  __disable_irq();
  while (1)
  {
  }
}
